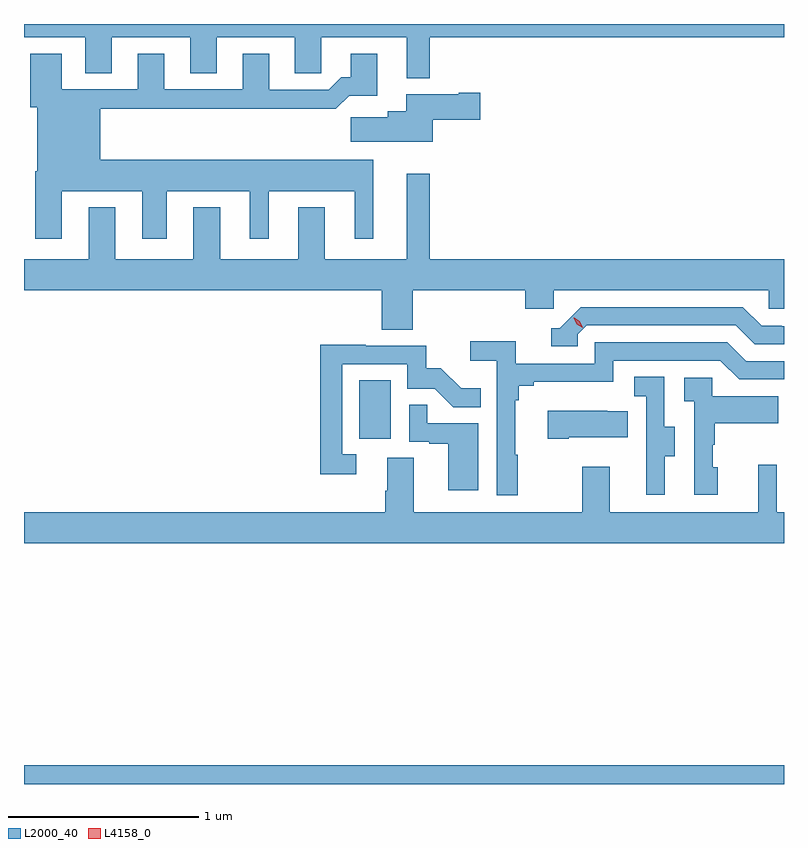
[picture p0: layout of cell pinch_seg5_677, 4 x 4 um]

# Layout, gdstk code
import gdstk
lib = gdstk.Library(unit=1e-6, precision=1e-09)
def R(c, l, rs):  # rectangles x0, y0, x1, y1
    for r in rs: c.add(gdstk.rectangle(r[:2], r[2:], *l))
def P(c, l, *ps):  # polygons
    for p in ps: c.add(gdstk.Polygon(p, *l))
L2000_40 = (2000, 40)
L4158_0 = (4158, 0)

pinch_seg5_677 = lib.new_cell('pinch_seg5_677')
R(pinch_seg5_677, L2000_40, [(1095.733,842.173,1099.733,842.272), (1097.498,843.99,1097.662,844.297)])
P(pinch_seg5_677, L2000_40, [(1097.869,846.104),(1099.733,846.104),(1099.733,846.173),(1095.733,846.173),(1095.733,846.104),(1096.055,846.104),(1096.055,845.914),(1096.195,845.914),(1096.195,846.104),(1096.607,846.104),(1096.607,845.914),(1096.747,845.914),(1096.747,846.104),(1097.159,846.104),(1097.159,845.914),(1097.298,845.914),(1097.298,846.104),(1097.747,846.104),(1097.747,845.888),(1097.869,845.888)],
  [(1095.931,845.294),(1096.355,845.294),(1096.355,845.043),(1096.483,845.043),(1096.483,845.294),(1096.922,845.294),(1096.922,845.043),(1097.02,845.043),(1097.02,845.294),(1097.474,845.294),(1097.474,845.043),(1097.572,845.043),(1097.572,845.458),(1096.135,845.458),(1096.135,845.728),(1097.119,845.728),(1097.119,845.726),(1097.375,845.726),(1097.444,845.795),(1097.593,845.795),(1097.593,846.016),(1097.453,846.016),(1097.453,845.893),(1097.404,845.893),(1097.337,845.826),(1097.023,845.826),(1097.023,846.016),(1096.883,846.016),(1096.883,845.829),(1096.471,845.829),(1096.471,846.016),(1096.331,846.016),(1096.331,845.829),(1095.931,845.829),(1095.931,846.016),(1095.767,846.016),(1095.767,845.736),(1095.803,845.736),(1095.803,845.398),(1095.791,845.398),(1095.791,845.043),(1095.931,845.043)],
  [(1097.884,845.669),(1098.133,845.669),(1098.133,845.811),(1098.02,845.811),(1098.02,845.803),(1097.744,845.803),(1097.744,845.713),(1097.648,845.713),(1097.648,845.681),(1097.454,845.681),(1097.454,845.552),(1097.884,845.552)],
  [(1097.78,844.772),(1098.371,844.772),(1098.371,844.674),(1098.522,844.674),(1098.522,844.772),(1099.653,844.772),(1099.653,844.674),(1099.733,844.674),(1099.733,844.936),(1097.869,844.936),(1097.869,845.386),(1097.747,845.386),(1097.747,844.936),(1097.317,844.936),(1097.317,845.209),(1097.177,845.209),(1097.177,844.936),(1096.765,844.936),(1096.765,845.209),(1096.625,845.209),(1096.625,844.936),(1096.213,844.936),(1096.213,845.209),(1096.073,845.209),(1096.073,844.936),(1095.733,844.936),(1095.733,844.772),(1097.615,844.772),(1097.615,844.564),(1097.78,844.564)],
  [(1098.648,844.539),(1098.696,844.587),(1099.479,844.587),(1099.578,844.488),(1099.733,844.488),(1099.733,844.581),(1099.722,844.581),(1099.722,844.584),(1099.615,844.584),(1099.516,844.683),(1098.663,844.683),(1098.552,844.572),(1098.509,844.572),(1098.509,844.476),(1098.648,844.476)],
  [(1098.331,843.905),(1098.319,843.905),(1098.319,844.193),(1098.338,844.193),(1098.338,844.27),(1098.415,844.27),(1098.415,844.289),(1098.834,844.289),(1098.834,844.401),(1099.398,844.401),(1099.497,844.302),(1099.733,844.302),(1099.733,844.398),(1099.534,844.398),(1099.435,844.497),(1098.738,844.497),(1098.738,844.386),(1098.32,844.386),(1098.32,844.502),(1098.081,844.502),(1098.081,844.4),(1098.222,844.4),(1098.222,843.693),(1098.331,843.693)],
  [(1097.482,843.909),(1097.409,843.909),(1097.409,844.383),(1097.751,844.383),(1097.751,844.254),(1097.895,844.254),(1097.993,844.156),(1098.137,844.156),(1098.137,844.255),(1098.033,844.255),(1097.926,844.362),(1097.85,844.362),(1097.85,844.479),(1097.531,844.479),(1097.531,844.484),(1097.293,844.484),(1097.293,843.804),(1097.482,843.804)],
  [(1099.105,843.898),(1099.159,843.898),(1099.159,844.053),(1099.104,844.053),(1099.104,844.316),(1098.945,844.316),(1098.945,844.213),(1099.008,844.213),(1099.008,843.909),(1099.007,843.909),(1099.007,843.696),(1099.105,843.696)],
  [(1099.384,843.84),(1099.359,843.84),(1099.359,843.959),(1099.369,843.959),(1099.369,844.073),(1099.703,844.073),(1099.703,844.213),(1099.356,844.213),(1099.356,844.311),(1099.209,844.311),(1099.209,844.187),(1099.26,844.187),(1099.26,843.696),(1099.384,843.696)],
  [(1098.124,844.071),(1097.855,844.071),(1097.855,844.169),(1097.76,844.169),(1097.76,843.975),(1097.867,843.975),(1097.867,843.963),(1097.966,843.963),(1097.966,843.72),(1098.124,843.72)],
  [(1098.601,843.998),(1098.911,843.998),(1098.911,844.135),(1098.803,844.135),(1098.803,844.138),(1098.489,844.138),(1098.489,843.991),(1098.601,843.991)],
  [(1099.733,843.604),(1099.695,843.604),(1099.695,843.853),(1099.598,843.853),(1099.598,843.604),(1098.817,843.604),(1098.817,843.844),(1098.67,843.844),(1098.67,843.604),(1097.785,843.604),(1097.785,843.89),(1097.645,843.89),(1097.645,843.716),(1097.633,843.716),(1097.633,843.604),(1095.733,843.604),(1095.733,843.44),(1099.733,843.44)])
P(pinch_seg5_677, L4158_0, [(1098.674,844.575),(1098.643,844.594),(1098.627,844.627),(1098.627,844.627),(1098.628,844.627),(1098.658,844.608),(1098.674,844.575),(1098.674,844.575)])

lib.write_gds('pinch_seg5_677.gds')
